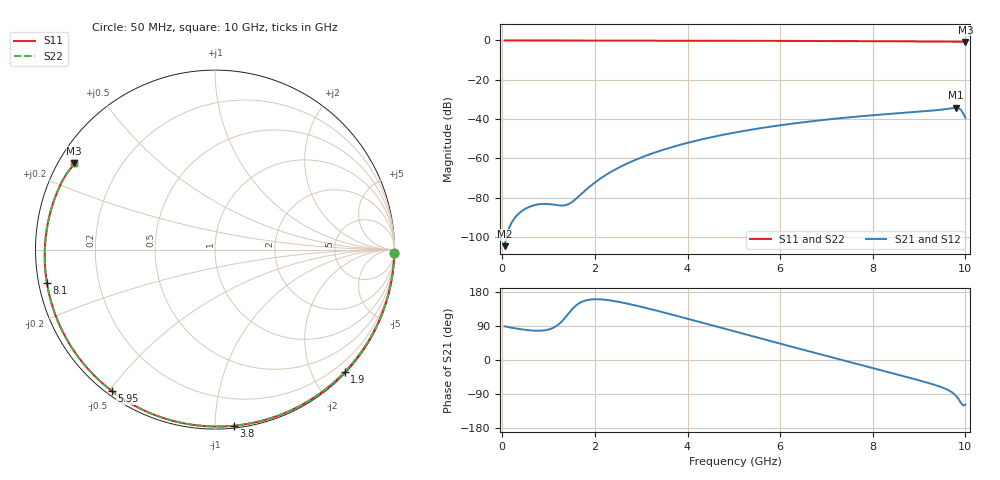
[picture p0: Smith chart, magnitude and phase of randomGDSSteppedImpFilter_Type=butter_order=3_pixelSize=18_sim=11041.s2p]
! freq	dB(S11)	phase(S11)	dB(S12)	phase(S12)
!  dB(S21)	phase(S21)	dB(S22)	phase(S22)
!S-par simulation data
#  GHz  S  DB  R 50
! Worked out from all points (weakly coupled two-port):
!   200 points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, 50 MHz to 10 GHz, reference 50 ohm
!   highest |S21| = -34.30 dB at 9.8 GHz (marker M1); lowest = -104.7 dB at 50 MHz (marker M2)
!   lowest |S11| = -0.7 dB at 10 GHz (marker M3), VSWR 23.81, Z = 2.27 + j14.1 ohm
!   |S11| at or under -10 dB: nowhere
!   |S22| runs from -0.7 to 0.0 dB; largest |S21 - S12| = 0
!   S11 on the Smith chart (normalised r, x): 50 MHz: open; 1.9 GHz: 0.02, -2.52; 3.8 GHz: 0.01, -1.11; 5.95 GHz: 0.02, -0.51; 8.1 GHz: 0.02, -0.10; 10 GHz: 0.05, +0.28
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0.05  -0.00 -1.1  -104.74 88.7  -104.74 88.7  -0.00 -1.1
0.8  -0.02 -18.5  -83.39 77.2  -83.39 77.2  -0.02 -18.5
1.6  -0.05 -36.7  -80.46 144.6  -80.46 144.6  -0.05 -36.7
1.75  -0.05 -40.0  -77.24 155.1  -77.24 155.1  -0.05 -40.0
1.9  -0.06 -43.4  -74.18 159.5  -74.18 159.5  -0.06 -43.4
2.2  -0.06 -50.0  -69.03 159.2  -69.03 159.2  -0.06 -50.0
2.55  -0.07 -57.6  -64.33 152.6  -64.33 152.6  -0.07 -57.6
2.95  -0.09 -66.1  -60.07 141.8  -60.07 141.8  -0.09 -66.1
3.4  -0.10 -75.6  -56.23 128.2  -56.23 128.2  -0.10 -75.6
3.8  -0.11 -83.8  -53.39 115.4  -53.39 115.4  -0.11 -83.8
4.4  -0.14 -95.9  -49.86 95.8  -49.86 95.8  -0.14 -95.9
5.05  -0.17 -108.8  -46.76 74.4  -46.76 74.4  -0.17 -108.8
5.95  -0.22 -126.2  -43.35 44.8  -43.35 44.8  -0.22 -126.2
6.7  -0.27 -140.8  -41.09 20.4  -41.09 20.4  -0.27 -140.7
7.4  -0.33 -154.5  -39.34 -2.1  -39.34 -2.1  -0.33 -154.5
8.1  -0.40 -168.7  -37.88 -24.5  -37.88 -24.5  -0.40 -168.7
8.35  -0.43 -173.9  -37.41 -32.5  -37.41 -32.5  -0.43 -173.9
9.1  -0.52 169.8  -36.07 -57.1  -36.07 -57.1  -0.52 169.8
9.8  -0.64 153.0  -34.30 -95.0  -34.30 -95.0  -0.64 153.0
9.9  -0.71 150.6  -35.20 -112.4  -35.20 -112.4  -0.71 150.6
9.95  -0.73 149.6  -36.99 -119.9  -36.99 -119.9  -0.73 149.6
10  -0.73 148.5  -39.41 -117.9  -39.41 -117.9  -0.73 148.5
